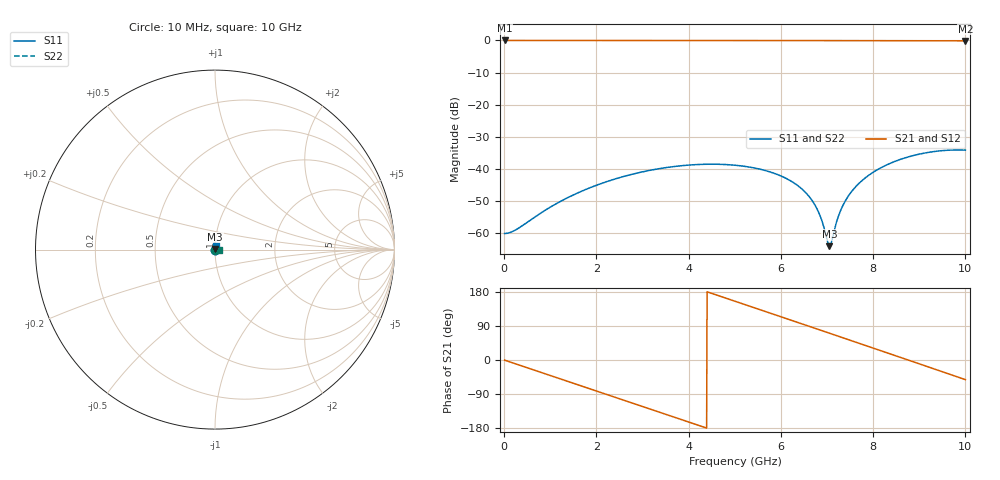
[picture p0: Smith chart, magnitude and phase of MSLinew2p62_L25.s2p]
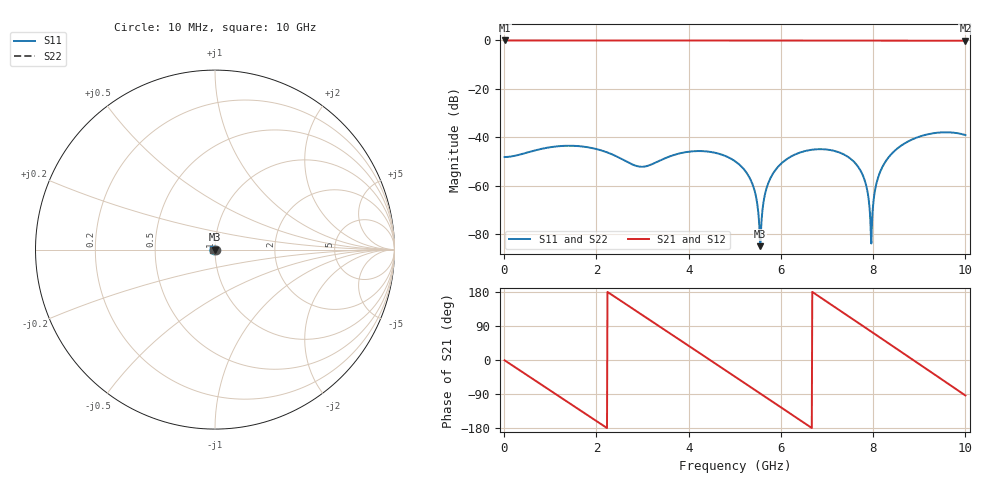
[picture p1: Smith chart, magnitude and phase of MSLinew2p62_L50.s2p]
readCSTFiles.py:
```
## Fourier
import numpy as np
from numpy import sin, exp, cos, log10, pi,angle,log,sqrt
import matplotlib.pyplot as plt
from numpy import loadtxt
import skrf as rf


def readCSTTDFiles():
    
    fileL50_I1='H:\Meu Drive\SocieForParaOPlay\SpectralBook\CSTFiles\MSLineTDw2p62_I1.txt'
    fileL50_I11='H:\Meu Drive\SocieForParaOPlay\SpectralBook\CSTFiles\MSLineTDw2p62_I11.txt'
    fileL50_I21='H:\Meu Drive\SocieForParaOPlay\SpectralBook\CSTFiles\MSLineTDw2p62_I21.txt'
    fileL100_I1='H:\Meu Drive\SocieForParaOPlay\SpectralBook\CSTFiles\MSLineTDw2p62L100I1.txt'
    fileL100_I11='H:\Meu Drive\SocieForParaOPlay\SpectralBook\CSTFiles\MSLineTDw2p62L100I11.txt'
    fileL100_I21='H:\Meu Drive\SocieForParaOPlay\SpectralBook\CSTFiles\MSLineTDw2p62L100I21.txt'

    I1= loadtxt(fileL50_I1)
    I11= loadtxt(fileL50_I11)
    I21= loadtxt(fileL50_I21)

    I1L100= loadtxt(fileL100_I1,comments='#')
    I1L100Zp_50=I1L100[:1400]
    I1L100Zp_30=I1L100[1400:1400*2]
    I1L100Zp_100=I1L100[1400*2:]

    I11L100= loadtxt(fileL100_I11,comments='#')
    I11L100Zp_50=I11L100[:1400]
    I11L100Zp_30=I11L100[1400:1400*2]
    I11L100Zp_100=I11L100[1400*2:]

    I21L100= loadtxt(fileL100_I21,comments='#')
    I21L100Zp_50=I21L100[:1400]
    I21L100Zp_30=I21L100[1400:1400*2]
    I21L100Zp_100=I21L100[1400*2:]

    TDL50=dict({'t':I1[:,0],'I1':I1[:,1],'I11':I11[:,1],'I21':I21[:,1]})
    TDL100=dict({'t':I1L100Zp_50[:,0],'I1':I1L100Zp_50[:,1],'I11':I11L100Zp_50[:,1],'I21':I21L100Zp_50[:,1]})
    TDL100Zp30=dict({'t':I1L100Zp_30[:,0],'I1':I1L100Zp_30[:,1],'I11':I11L100Zp_30[:,1],'I21':I21L100Zp_30[:,1]})
    TDL100Zp100=dict({'t':I1L100Zp_100[:,0],'I1':I1L100Zp_100[:,1],'I11':I11L100Zp_100[:,1],'I21':I21L100Zp_100[:,1]})

    return TDL50,TDL100,TDL100Zp30,TDL100Zp100

def readCSTTDFilesZLres():
    
    fileL100ZLres30_I1='H:\Meu Drive\SocieForParaOPlay\SpectralBook\CSTFiles\MSLineTDw2p62L100ZLresistiveI1ZL30.txt'
    fileL100ZLres50_I1='H:\Meu Drive\SocieForParaOPlay\SpectralBook\CSTFiles\MSLineTDw2p62L100ZLresistiveI1ZL50.txt'
    fileL100ZLres100_I1='H:\Meu Drive\SocieForParaOPlay\SpectralBook\CSTFiles\MSLineTDw2p62L100ZLresistiveI1ZL100.txt'
    fileL100ZLres30_I11='H:\Meu Drive\SocieForParaOPlay\SpectralBook\CSTFiles\MSLineTDw2p62L100ZLresistiveI11ZL30.txt'
    fileL100ZLres50_I11='H:\Meu Drive\SocieForParaOPlay\SpectralBook\CSTFiles\MSLineTDw2p62L100ZLresistiveI11ZL50.txt'
    fileL100ZLres100_I11='H:\Meu Drive\SocieForParaOPlay\SpectralBook\CSTFiles\MSLineTDw2p62L100ZLresistiveI11ZL100.txt'

    L100ZLres30_I1= loadtxt(fileL100ZLres30_I1,comments='#')
    L100ZLres50_I1= loadtxt(fileL100ZLres50_I1,comments='#')
    L100ZLres100_I1= loadtxt(fileL100ZLres100_I1,comments='#')
    L100ZLres30_I11= loadtxt(fileL100ZLres30_I11,comments='#')
    L100ZLres50_I11= loadtxt(fileL100ZLres50_I11,comments='#')
    L100ZLres100_I11= loadtxt(fileL100ZLres100_I11,comments='#')

    TDL100ZLres50=dict({'t':L100ZLres50_I1[:,0],'I1':L100ZLres50_I1[:,1],'I11':L100ZLres50_I11[:,1],'I21':[]})
    TDL100ZLres30=dict({'t':L100ZLres30_I1[:,0],'I1':L100ZLres30_I1[:,1],'I11':L100ZLres30_I11[:,1],'I21':[]})
    TDL100ZLres100=dict({'t':L100ZLres100_I1[:,0],'I1':L100ZLres100_I1[:,1],'I11':L100ZLres100_I11[:,1],'I21':[]})


    return TDL100ZLres50,TDL100ZLres30,TDL100ZLres100

def readCSTSparZpZLres():
    fileMSL25='H:\Meu Drive\SocieForParaOPlay\SpectralBook\CSTFiles\MSLinew2p62_L25.s2p'
    fileMSL50='H:\Meu Drive\SocieForParaOPlay\SpectralBook\CSTFiles\MSLinew2p62_L50.s2p'

    S_L25_rf = rf.Network(fileMSL25)
    S_L50_rf = rf.Network(fileMSL50)

    fileMSL100Zp30='H:\Meu Drive\SocieForParaOPlay\SpectralBook\CSTFiles\MSLineZp1V2_3.s2p'
    fileMSL100Zp50='H:\Meu Drive\SocieForParaOPlay\SpectralBook\CSTFiles\MSLineZp1V2_3.s2p'
    fileMSL100Zp100='H:\Meu Drive\SocieForParaOPlay\SpectralBook\CSTFiles\MSLineZp1V2_3.s2p'

    fileMSL100ZLres30='H:\Meu Drive\SocieForParaOPlay\SpectralBook\CSTFiles\MSLinew2p62_ZL_resistive_30.s1p'
    fileMSL100ZLres50='H:\Meu Drive\SocieForParaOPlay\SpectralBook\CSTFiles\MSLinew2p62_ZL_resistive_50.s1p'
    fileMSL100ZLres100='H:\Meu Drive\SocieForParaOPlay\SpectralBook\CSTFiles\MSLinew2p62_ZL_resistive_100.s1p'

    S_L100Zp30_rf = rf.Network(fileMSL100Zp30)
    S_L100Zp50_rf = rf.Network(fileMSL100Zp50)
    S_L100Zp100_rf = rf.Network(fileMSL100Zp100)

    S_L100ZLres30_rf = rf.Network(fileMSL100ZLres30)
    S_L100ZLres50_rf = rf.Network(fileMSL100ZLres50)
    S_L100ZLres100_rf = rf.Network(fileMSL100ZLres100)

    return S_L25_rf,S_L50_rf,S_L100Zp30_rf,S_L100Zp50_rf,S_L100Zp100_rf,S_L100ZLres30_rf,S_L100ZLres50_rf,S_L100ZLres100_rf
```
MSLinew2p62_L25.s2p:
! TOUCHSTONE file generated by CST MICROWAVE STUDIO
! Date and time: Mon Feb 10 02:50:38 2025
! Project name: MSLine.cst
! Parameters = {Lamb=0.05; C=0; L=25; Li=0; R=1e-13; W=20; dlump=2; er=2; h=0.8; w1=2.62}
! Header version: 2024
! Port assignment regex: !\s*Touchstone port\s*([0-9]+)\s*=\s*(CST MWS port|CST DES external port|CST DES block port)\s*(.+)\s* \(\"(.*)\"\)(\s*mode\s*([0-9]+))?.*
! Touchstone port assignment:
! Touchstone port 1 = CST MWS port 1 ("")
! Touchstone port 2 = CST MWS port 2 ("")
# GHz S MA R 50
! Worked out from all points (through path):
!   1000 points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, 10 MHz to 10 GHz, reference 50 ohm
!   highest |S21| = 0.00 dB at 10 MHz (marker M1); lowest = -0.1 dB at 10 GHz (marker M2)
!   group delay of S21, straight-line fit = 114 ps
!   lowest |S11| = -64.0 dB at 7.05 GHz (marker M3), VSWR 1.00, Z = 50 + j0.0633 ohm
!   |S11| at or under -10 dB: start of sweep to end of sweep
!   |S22| runs from -64.0 to -34.0 dB; largest |S21 - S12| = 1.7e-06
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0.01  0.000996 -1.8  1 -0.4  1 -0.4  0.000996 -179.0
1.34  0.003482 -140.9  0.9998 -54.8  0.9998 -54.8  0.003482 -148.6
2.37  0.006896 167.8  0.9995 -96.9  0.9995 -96.9  0.006896 178.4
3.8  0.0112 113.4  0.9987 -155.4  0.9987 -155.4  0.0112 115.8
5.01  0.01147 72.9  0.9978 154.9  0.9978 154.9  0.01147 56.9
6.42  0.005155 30.9  0.9962 96.9  0.9962 96.9  0.005155 -17.1
7.05  0.0006329 89.4  0.9954 70.9  0.9954 70.9  0.0006329 -127.7
7.41  0.003322 160.3  0.9948 56.0  0.9948 56.0  0.003322 131.6
7.94  0.008347 149.2  0.9937 34.0  0.9937 34.0  0.008347 98.8
8.94  0.0167 117.3  0.991 -7.6  0.991 -7.6  0.0167 47.6
10  0.01972 80.2  0.9865 -51.8  0.9865 -51.8  0.01972 -3.9
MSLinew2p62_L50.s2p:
! TOUCHSTONE file generated by CST MICROWAVE STUDIO
! Date and time: Mon Feb 10 02:50:38 2025
! Project name: MSLine.cst
! Parameters = {Lamb=0.05; C=0; L=50; Li=0; R=1e-13; W=20; dlump=2; er=2; h=0.8; w1=2.62}
! Header version: 2024
! Port assignment regex: !\s*Touchstone port\s*([0-9]+)\s*=\s*(CST MWS port|CST DES external port|CST DES block port)\s*(.+)\s* \(\"(.*)\"\)(\s*mode\s*([0-9]+))?.*
! Touchstone port assignment:
! Touchstone port 1 = CST MWS port 1 ("")
! Touchstone port 2 = CST MWS port 2 ("")
# GHz S MA R 50
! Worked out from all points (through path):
!   1000 points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, 10 MHz to 10 GHz, reference 50 ohm
!   highest |S21| = 0.00 dB at 10 MHz (marker M1); lowest = -0.1 dB at 10 GHz (marker M2)
!   group delay of S21, straight-line fit = 226 ps
!   lowest |S11| = -85.1 dB at 5.55 GHz (marker M3), VSWR 1.00, Z = 50 + j0.00236 ohm
!   |S11| at or under -10 dB: start of sweep to end of sweep
!   |S22| runs from -85.1 to -38.0 dB; largest |S21 - S12| = 1.7e-06
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0.01  0.003889 -179.6  1 -0.8  1 -0.8  0.003889 -2.0
1.12  0.006419 -178.5  0.9999 -90.1  0.9999 -90.1  0.006419 178.2
2.21  0.00494 146.1  0.9996 -178.0  0.9996 -178.0  0.00494 38.0
3.47  0.003599 -169.6  0.9989 80.4  0.9989 80.4  0.003599 150.3
5.01  0.003163 127.2  0.9977 -44.3  0.9977 -44.3  0.003163 -35.9
5.55  5.576e-05 25.0  0.9971 -88.2  0.9971 -88.2  5.576e-05 -21.5
6.3  0.004353 -125.6  0.9962 -149.3  0.9962 -149.3  0.004353 7.0
7.77  0.00168 141.5  0.9936 90.4  0.9936 90.4  0.00168 -140.6
7.96  6.345e-05 25.7  0.9932 74.8  0.9932 74.8  6.345e-05 -56.0
8.88  0.009274 -108.7  0.9907 -0.9  0.9907 -0.9  0.009274 -73.1
10  0.01108 171.7  0.9863 -93.6  0.9863 -93.6  0.01108 -179.0
